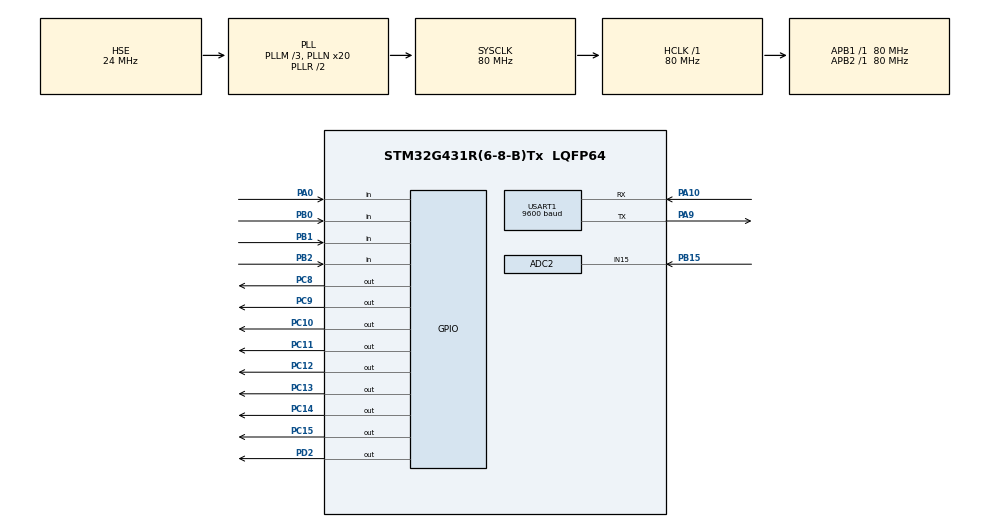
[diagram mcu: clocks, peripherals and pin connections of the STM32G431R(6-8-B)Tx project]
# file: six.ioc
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ADC2.Channel-0\#ChannelRegularConversion=ADC_CHANNEL_15
ADC2.NbrOfConversionFlag=1
ADC2.OffsetNumber-0\#ChannelRegularConversion=ADC_OFFSET_NONE
ADC2.Rank-0\#ChannelRegularConversion=1
ADC2.SamplingTime-0\#ChannelRegularConversion=ADC_SAMPLETIME_2CYCLES_5
Mcu.Family=STM32G4
Mcu.Name=STM32G431R(6-8-B)Tx
Mcu.Package=LQFP64
NVIC.PriorityGroup=NVIC_PRIORITYGROUP_4
NVIC.TIM2_IRQn=true\:0\:0\:false\:false\:true\:true\:true
NVIC.TIM3_IRQn=true\:0\:0\:false\:false\:true\:true\:true
NVIC.USART1_IRQn=true\:0\:0\:false\:false\:true\:true\:true
PA0.GPIO_PuPd=GPIO_PULLUP
PA0.Signal=GPIO_Input
PA10.Mode=Asynchronous
PA10.Signal=USART1_RX
PA13.Mode=Serial_Wire
PA13.Signal=SYS_JTMS-SWDIO
PA14.Mode=Serial_Wire
PA14.Signal=SYS_JTCK-SWCLK
PA9.Mode=Asynchronous
PA9.Signal=USART1_TX
PB0.GPIO_PuPd=GPIO_PULLUP
PB0.Signal=GPIO_Input
PB1.GPIO_PuPd=GPIO_PULLUP
PB1.Signal=GPIO_Input
PB15.Mode=IN15-Single-Ended
PB15.Signal=ADC2_IN15
PB2.GPIO_PuPd=GPIO_PULLUP
PB2.Signal=GPIO_Input
PC10.PinState=GPIO_PIN_SET
PC10.Signal=GPIO_Output
PC11.PinState=GPIO_PIN_SET
PC11.Signal=GPIO_Output
PC12.PinState=GPIO_PIN_SET
PC12.Signal=GPIO_Output
PC13.PinState=GPIO_PIN_SET
PC13.Signal=GPIO_Output
PC14-OSC32_IN.PinState=GPIO_PIN_SET
PC14-OSC32_IN.Signal=GPIO_Output
PC15-OSC32_OUT.PinState=GPIO_PIN_SET
PC15-OSC32_OUT.Signal=GPIO_Output
PC8.PinState=GPIO_PIN_SET
PC8.Signal=GPIO_Output
PC9.PinState=GPIO_PIN_SET
PC9.Signal=GPIO_Output
PD2.Signal=GPIO_Output
PF0-OSC_IN.Mode=HSE-External-Oscillator
PF0-OSC_IN.Signal=RCC_OSC_IN
PF1-OSC_OUT.Mode=HSE-External-Oscillator
PF1-OSC_OUT.Signal=RCC_OSC_OUT
ProjectManager.HeapSize=0x200
ProjectManager.StackSize=0x400
ProjectManager.TargetToolchain=MDK-ARM V5
RCC.ADC12Freq_Value=80000000
RCC.AHBFreq_Value=80000000
RCC.APB1Freq_Value=80000000
RCC.APB1TimFreq_Value=80000000
RCC.APB2Freq_Value=80000000
RCC.APB2TimFreq_Value=80000000
RCC.CortexFreq_Value=80000000
RCC.EXTERNAL_CLOCK_VALUE=12288000
RCC.HCLKFreq_Value=80000000
RCC.HSE_VALUE=24000000
RCC.HSI48_VALUE=48000000
RCC.HSI_VALUE=16000000
RCC.LSE_VALUE=32768
RCC.PLLM=RCC_PLLM_DIV3
RCC.PLLN=20
RCC.PLLSourceVirtual=RCC_PLLSOURCE_HSE
RCC.RTCClockSelection=RCC_RTCCLKSOURCE_HSE_DIV32
RCC.SYSCLKFreq_VALUE=80000000
RCC.SYSCLKSource=RCC_SYSCLKSOURCE_PLLCLK
RCC.USBFreq_Value=80000000
RCC.VCOOutputFreq_Value=160000000
RTC.AsynchPrediv=125
RTC.SynchPrediv=6000
TIM2.PeriodNoDither=10000-1
TIM2.Prescaler=80-1
TIM3.PeriodNoDither=2000-1
TIM3.Prescaler=8000-1
USART1.BaudRate=9600
USART1.VirtualMode-Asynchronous=VM_ASYNC
USART1.WordLength=WORDLENGTH_8B
VP_RTC_VS_RTC_Activate.Mode=RTC_Enabled
VP_RTC_VS_RTC_Calendar.Mode=RTC_Calendar
VP_SYS_VS_DBSignals.Mode=DisableDeadBatterySignals
VP_TIM2_VS_ClockSourceINT.Mode=Internal
VP_TIM3_VS_ClockSourceINT.Mode=Internal
board=custom

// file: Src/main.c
/* USER CODE BEGIN Header */
/**
  ******************************************************************************
  * @file           : main.c
  * @brief          : Main program body
  ******************************************************************************
  * @attention
  *
  * <h2><center>&copy; Copyright (c) 2024 STMicroelectronics.
  * All rights reserved.</center></h2>
  *
  * This software component is licensed by ST under BSD 3-Clause license,
  * the "License"; You may not use this file except in compliance with the
  * License. You may obtain a copy of the License at:
  *                        opensource.org/licenses/BSD-3-Clause
  *
  ******************************************************************************
  */
/* USER CODE END Header */

#include "main.h"
#include "adc.h"
#include "rtc.h"
#include "tim.h"
#include "usart.h"
#include "gpio.h"

/* USER CODE BEGIN Includes */

#include "key.h"
#include "lcd.h"
#include "myfile.h"
#include "display.h"

/* USER CODE END Includes */

/* USER CODE BEGIN PV */

//电位器输出的电压信号
float volt=0;

float k;

//指示灯闪烁报警功能是否打开
//1--打开  0--关闭
uint8_t is_open=1;

//LED1的亮灭状态
uint8_t led1_sta;

//时间--时分秒
uint8_t h;
uint8_t m;
uint8_t s;

//显示界面
//0---系统界面	1--时间设置界面
uint8_t menu=0;

//时间调整标记
uint8_t change_time=0;
/* USER CODE END PV */

void SystemClock_Config(void);

int main(void)
{

  /* MCU Configuration--------------------------------------------------------*/

  /* Reset of all peripherals, Initializes the Flash interface and the Systick. */
  HAL_Init();

  /* Configure the system clock */
  SystemClock_Config();

  /* Initialize all configured peripherals */
  MX_GPIO_Init();
  MX_ADC2_Init();
  MX_TIM2_Init();
  MX_TIM3_Init();
  MX_USART1_UART_Init();
  MX_RTC_Init();
  /* USER CODE BEGIN 2 */
	sys_init();
  /* USER CODE END 2 */

  /* Infinite loop */
  while (1)
  {

    /* USER CODE BEGIN 3 */
		sys_work();
  }
  /* USER CODE END 3 */
}

void SystemClock_Config(void)
{
  RCC_OscInitTypeDef RCC_OscInitStruct = {0};
  RCC_ClkInitTypeDef RCC_ClkInitStruct = {0};
  RCC_PeriphCLKInitTypeDef PeriphClkInit = {0};

  /** Configure the main internal regulator output voltage
  */
  HAL_PWREx_ControlVoltageScaling(PWR_REGULATOR_VOLTAGE_SCALE1);
  /** Initializes the CPU, AHB and APB busses clocks
  */
  RCC_OscInitStruct.OscillatorType = RCC_OSCILLATORTYPE_HSE;
  RCC_OscInitStruct.HSEState = RCC_HSE_ON;
  RCC_OscInitStruct.PLL.PLLState = RCC_PLL_ON;
  RCC_OscInitStruct.PLL.PLLSource = RCC_PLLSOURCE_HSE;
  RCC_OscInitStruct.PLL.PLLM = RCC_PLLM_DIV3;
  RCC_OscInitStruct.PLL.PLLN = 20;
  RCC_OscInitStruct.PLL.PLLP = RCC_PLLP_DIV2;
  RCC_OscInitStruct.PLL.PLLQ = RCC_PLLQ_DIV2;
  RCC_OscInitStruct.PLL.PLLR = RCC_PLLR_DIV2;
  if (HAL_RCC_OscConfig(&RCC_OscInitStruct) != HAL_OK)
  {
    Error_Handler();
  }
  /** Initializes the CPU, AHB and APB busses clocks
  */
  RCC_ClkInitStruct.ClockType = RCC_CLOCKTYPE_HCLK|RCC_CLOCKTYPE_SYSCLK
                              |RCC_CLOCKTYPE_PCLK1|RCC_CLOCKTYPE_PCLK2;
  RCC_ClkInitStruct.SYSCLKSource = RCC_SYSCLKSOURCE_PLLCLK;
  RCC_ClkInitStruct.AHBCLKDivider = RCC_SYSCLK_DIV1;
  RCC_ClkInitStruct.APB1CLKDivider = RCC_HCLK_DIV1;
  RCC_ClkInitStruct.APB2CLKDivider = RCC_HCLK_DIV1;

  if (HAL_RCC_ClockConfig(&RCC_ClkInitStruct, FLASH_LATENCY_3) != HAL_OK)
  {
    Error_Handler();
  }
  /** Initializes the peripherals clocks
  */
  PeriphClkInit.PeriphClockSelection = RCC_PERIPHCLK_RTC|RCC_PERIPHCLK_USART1
                              |RCC_PERIPHCLK_ADC12;
  PeriphClkInit.Usart1ClockSelection = RCC_USART1CLKSOURCE_PCLK2;
  PeriphClkInit.Adc12ClockSelection = RCC_ADC12CLKSOURCE_SYSCLK;
  PeriphClkInit.RTCClockSelection = RCC_RTCCLKSOURCE_HSE_DIV32;

  if (HAL_RCCEx_PeriphCLKConfig(&PeriphClkInit) != HAL_OK)
  {
    Error_Handler();
  }
}

void Error_Handler(void)
{
}

/************************ (C) COPYRIGHT STMicroelectronics *****END OF FILE****/
